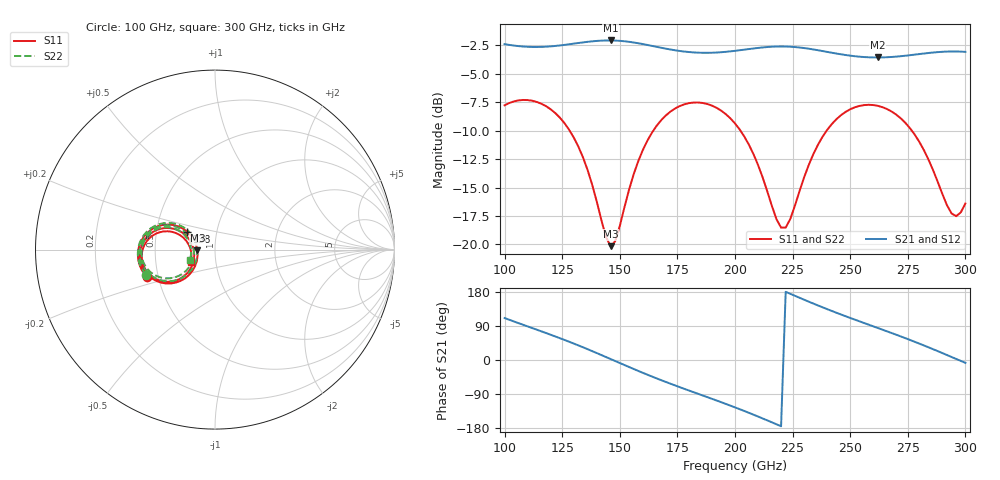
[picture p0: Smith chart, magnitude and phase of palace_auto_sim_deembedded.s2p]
! Created with skrf 1.11.0 (http://scikit-rf.org).
# GHz S DB R 50.0
!freq dBS11 angS11 dBS21 angS21 dBS12 angS12 dBS22 angS22
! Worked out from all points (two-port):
!   101 points, 100 GHz to 300 GHz, reference 50 ohm
!   highest |S21| = -2.08 dB at 146 GHz (marker M1); lowest = -3.6 dB at 262 GHz (marker M2)
!   |S21| within 3 dB of the highest: start of sweep to end of sweep
!   lowest |S11| = -20.2 dB at 146 GHz (marker M3), VSWR 1.22, Z = 41.1 - j0.386 ohm
!   |S11| at or under -10 dB: 128.2 GHz to 164.6 GHz (36.32 GHz wide, 24.8 % of centre); 202.4 GHz to 239.8 GHz (37.43 GHz wide, 16.9 % of centre); 276.7 GHz to end of sweep
!   |S22| runs from -20.1 to -7.3 dB; largest |S21 - S12| = 8.4e-14
!   S11 on the Smith chart (normalised r, x): 100 GHz: 0.43, -0.16; 138 GHz: 0.72, +0.15; 300 GHz: 0.76, -0.11
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100  -7.78 -158.1  -2.40 110.7  -2.40 110.7  -7.78 -159.8
108  -7.30 -172.4  -2.61 93.0  -2.61 93.0  -7.31 -174.2
118  -7.85 170.3  -2.62 71.1  -2.62 71.1  -7.86 168.4
134  -12.34 147.7  -2.25 33.6  -2.25 33.6  -12.35 145.5
138  -14.74 147.2  -2.15 23.5  -2.15 23.5  -14.74 145.0
146  -20.15 -177.3  -2.08 2.6  -2.08 2.6  -20.13 -179.7
148  -19.72 -160.2  -2.09 -2.7  -2.09 -2.7  -19.70 -162.7
156  -13.85 -135.7  -2.25 -23.7  -2.25 -23.7  -13.85 -138.3
168  -9.07 -148.4  -2.72 -53.3  -2.72 -53.3  -9.08 -151.2
184  -7.53 -174.3  -3.15 -89.3  -3.15 -89.3  -7.54 -177.4
200  -9.36 161.1  -2.99 -125.0  -2.99 -125.0  -9.37 157.8
212  -14.11 152.8  -2.69 -154.2  -2.69 -154.2  -14.10 149.4
220  -18.52 180.0  -2.60 -174.9  -2.60 -174.9  -18.48 176.3
224  -17.76 -155.2  -2.63 174.6  -2.63 174.6  -17.73 -159.1
234  -12.07 -140.0  -2.86 148.9  -2.86 148.9  -12.07 -144.0
248  -8.35 -156.8  -3.36 115.6  -3.36 115.6  -8.36 -161.0
262  -7.82 -178.1  -3.57 84.5  -3.57 84.5  -7.83 177.5
268  -8.32 173.1  -3.53 71.1  -3.53 71.1  -8.33 168.6
278  -10.35 160.5  -3.32 48.0  -3.32 48.0  -10.36 155.9
286  -13.48 157.5  -3.13 28.4  -3.13 28.4  -13.49 152.7
294  -17.28 178.1  -3.04 8.0  -3.04 8.0  -17.27 173.1
300  -16.40 -152.8  -3.08 -7.6  -3.08 -7.6  -16.40 -158.0
